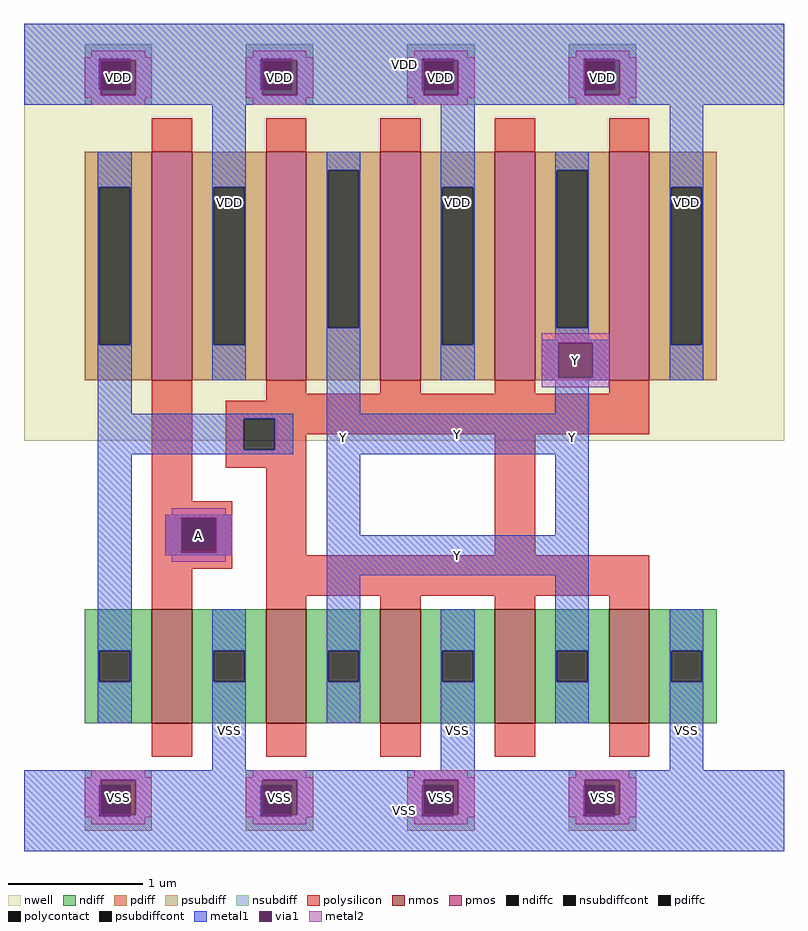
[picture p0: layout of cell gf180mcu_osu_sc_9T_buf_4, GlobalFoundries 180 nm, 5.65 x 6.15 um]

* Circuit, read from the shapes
.subckt gf180mcu_osu_sc_9T_buf_4 A Y VDD VSS
XM1 VSS A n1 VSS nfet_03v3 w=0.85u l=0.3u
XM2 Y n1 VSS VSS nfet_03v3 w=0.85u l=0.3u m=4
XM3 VDD A n1 VDD pfet_03v3 w=1.7u l=0.3u
XM4 Y n1 VDD VDD pfet_03v3 w=1.7u l=0.3u m=4
.ends

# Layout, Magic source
magic
tech gf180mcuC
magscale 1 10
<< nwell >>
rect 0 610 1130 1230
<< nmos >>
rect 190 190 250 360
rect 360 190 420 360
rect 530 190 590 360
rect 700 190 760 360
rect 870 190 930 360
<< pmos >>
rect 190 700 250 1040
rect 360 700 420 1040
rect 530 700 590 1040
rect 700 700 760 1040
rect 870 700 930 1040
<< ndiff >>
rect 90 298 190 360
rect 90 252 112 298
rect 158 252 190 298
rect 90 190 190 252
rect 250 298 360 360
rect 250 252 282 298
rect 328 252 360 298
rect 250 190 360 252
rect 420 298 530 360
rect 420 252 452 298
rect 498 252 530 298
rect 420 190 530 252
rect 590 298 700 360
rect 590 252 622 298
rect 668 252 700 298
rect 590 190 700 252
rect 760 298 870 360
rect 760 252 792 298
rect 838 252 870 298
rect 760 190 870 252
rect 930 298 1030 360
rect 930 252 962 298
rect 1008 252 1030 298
rect 930 190 1030 252
<< pdiff >>
rect 90 987 190 1040
rect 90 753 112 987
rect 158 753 190 987
rect 90 700 190 753
rect 250 987 360 1040
rect 250 753 282 987
rect 328 753 360 987
rect 250 700 360 753
rect 420 1012 530 1040
rect 420 778 452 1012
rect 498 778 530 1012
rect 420 700 530 778
rect 590 987 700 1040
rect 590 753 622 987
rect 668 753 700 987
rect 590 700 700 753
rect 760 1012 870 1040
rect 760 778 792 1012
rect 838 778 870 1012
rect 760 700 870 778
rect 930 987 1030 1040
rect 930 753 962 987
rect 1008 753 1030 987
rect 930 700 1030 753
<< ndiffc >>
rect 112 252 158 298
rect 282 252 328 298
rect 452 252 498 298
rect 622 252 668 298
rect 792 252 838 298
rect 962 252 1008 298
<< pdiffc >>
rect 112 753 158 987
rect 282 753 328 987
rect 452 778 498 1012
rect 622 753 668 987
rect 792 778 838 1012
rect 962 753 1008 987
<< psubdiff >>
rect 90 98 190 120
rect 90 52 112 98
rect 158 52 190 98
rect 90 30 190 52
rect 330 98 430 120
rect 330 52 352 98
rect 398 52 430 98
rect 330 30 430 52
rect 570 98 670 120
rect 570 52 592 98
rect 638 52 670 98
rect 570 30 670 52
rect 810 98 910 120
rect 810 52 832 98
rect 878 52 910 98
rect 810 30 910 52
<< nsubdiff >>
rect 90 1178 190 1200
rect 90 1132 112 1178
rect 158 1132 190 1178
rect 90 1110 190 1132
rect 330 1178 430 1200
rect 330 1132 352 1178
rect 398 1132 430 1178
rect 330 1110 430 1132
rect 570 1178 670 1200
rect 570 1132 592 1178
rect 638 1132 670 1178
rect 570 1110 670 1132
rect 810 1178 910 1200
rect 810 1132 832 1178
rect 878 1132 910 1178
rect 810 1110 910 1132
<< psubdiffcont >>
rect 112 52 158 98
rect 352 52 398 98
rect 592 52 638 98
rect 832 52 878 98
<< nsubdiffcont >>
rect 112 1132 158 1178
rect 352 1132 398 1178
rect 592 1132 638 1178
rect 832 1132 878 1178
<< polysilicon >>
rect 190 1040 250 1090
rect 360 1040 420 1090
rect 530 1040 590 1090
rect 700 1040 760 1090
rect 870 1040 930 1090
rect 190 520 250 700
rect 360 680 420 700
rect 530 680 590 700
rect 700 680 760 700
rect 870 680 930 700
rect 360 670 930 680
rect 300 643 930 670
rect 300 597 327 643
rect 373 620 930 643
rect 373 597 420 620
rect 300 570 420 597
rect 190 493 310 520
rect 190 447 237 493
rect 283 447 310 493
rect 190 420 310 447
rect 360 440 420 570
rect 700 440 760 620
rect 190 360 250 420
rect 360 380 930 440
rect 360 360 420 380
rect 530 360 590 380
rect 700 360 760 380
rect 870 360 930 380
rect 190 140 250 190
rect 360 140 420 190
rect 530 140 590 190
rect 700 140 760 190
rect 870 140 930 190
<< polycontact >>
rect 327 597 373 643
rect 237 447 283 493
<< metal1 >>
rect 0 1178 1130 1230
rect 0 1132 112 1178
rect 158 1176 352 1178
rect 398 1176 592 1178
rect 638 1176 832 1178
rect 878 1176 1130 1178
rect 166 1132 352 1176
rect 406 1132 592 1176
rect 646 1132 832 1176
rect 0 1124 114 1132
rect 166 1124 354 1132
rect 406 1124 594 1132
rect 646 1124 834 1132
rect 886 1124 1130 1176
rect 0 1110 1130 1124
rect 110 987 160 1040
rect 110 753 112 987
rect 158 753 160 987
rect 110 650 160 753
rect 280 987 330 1110
rect 280 753 282 987
rect 328 753 330 987
rect 280 700 330 753
rect 450 1012 500 1040
rect 450 778 452 1012
rect 498 778 500 1012
rect 450 650 500 778
rect 620 987 670 1110
rect 620 753 622 987
rect 668 753 670 987
rect 790 1012 840 1040
rect 790 778 792 1012
rect 838 778 840 1012
rect 790 760 840 778
rect 960 987 1010 1110
rect 620 700 670 753
rect 770 756 870 760
rect 770 704 794 756
rect 846 704 870 756
rect 770 700 870 704
rect 960 753 962 987
rect 1008 753 1010 987
rect 960 700 1010 753
rect 790 650 840 700
rect 110 643 400 650
rect 110 597 327 643
rect 373 597 400 643
rect 110 590 400 597
rect 450 590 840 650
rect 110 298 160 590
rect 210 496 310 500
rect 210 444 234 496
rect 286 444 310 496
rect 210 440 310 444
rect 450 470 500 590
rect 790 470 840 590
rect 450 410 840 470
rect 110 252 112 298
rect 158 252 160 298
rect 110 190 160 252
rect 280 298 330 360
rect 280 252 282 298
rect 328 252 330 298
rect 280 120 330 252
rect 450 298 500 410
rect 450 252 452 298
rect 498 252 500 298
rect 450 190 500 252
rect 620 298 670 360
rect 620 252 622 298
rect 668 252 670 298
rect 620 120 670 252
rect 790 298 840 410
rect 790 252 792 298
rect 838 252 840 298
rect 790 190 840 252
rect 960 298 1010 360
rect 960 252 962 298
rect 1008 252 1010 298
rect 960 120 1010 252
rect 0 106 1130 120
rect 0 98 114 106
rect 166 98 354 106
rect 406 98 594 106
rect 646 98 834 106
rect 0 52 112 98
rect 166 54 352 98
rect 406 54 592 98
rect 646 54 832 98
rect 886 54 1130 106
rect 158 52 352 54
rect 398 52 592 54
rect 638 52 832 54
rect 878 52 1130 54
rect 0 0 1130 52
<< via1 >>
rect 114 1132 158 1176
rect 158 1132 166 1176
rect 354 1132 398 1176
rect 398 1132 406 1176
rect 594 1132 638 1176
rect 638 1132 646 1176
rect 834 1132 878 1176
rect 878 1132 886 1176
rect 114 1124 166 1132
rect 354 1124 406 1132
rect 594 1124 646 1132
rect 834 1124 886 1132
rect 794 704 846 756
rect 234 493 286 496
rect 234 447 237 493
rect 237 447 283 493
rect 283 447 286 493
rect 234 444 286 447
rect 114 98 166 106
rect 354 98 406 106
rect 594 98 646 106
rect 834 98 886 106
rect 114 54 158 98
rect 158 54 166 98
rect 354 54 398 98
rect 398 54 406 98
rect 594 54 638 98
rect 638 54 646 98
rect 834 54 878 98
rect 878 54 886 98
<< metal2 >>
rect 100 1180 180 1190
rect 340 1180 420 1190
rect 580 1180 660 1190
rect 820 1180 900 1190
rect 90 1176 190 1180
rect 90 1124 114 1176
rect 166 1124 190 1176
rect 90 1120 190 1124
rect 330 1176 430 1180
rect 330 1124 354 1176
rect 406 1124 430 1176
rect 330 1120 430 1124
rect 570 1176 670 1180
rect 570 1124 594 1176
rect 646 1124 670 1176
rect 570 1120 670 1124
rect 810 1176 910 1180
rect 810 1124 834 1176
rect 886 1124 910 1176
rect 810 1120 910 1124
rect 100 1110 180 1120
rect 340 1110 420 1120
rect 580 1110 660 1120
rect 820 1110 900 1120
rect 770 756 870 770
rect 770 704 794 756
rect 846 704 870 756
rect 770 690 870 704
rect 220 500 300 510
rect 210 496 310 500
rect 210 444 234 496
rect 286 444 310 496
rect 210 440 310 444
rect 220 430 300 440
rect 100 110 180 120
rect 340 110 420 120
rect 580 110 660 120
rect 820 110 900 120
rect 90 106 190 110
rect 90 54 114 106
rect 166 54 190 106
rect 90 50 190 54
rect 330 106 430 110
rect 330 54 354 106
rect 406 54 430 106
rect 330 50 430 54
rect 570 106 670 110
rect 570 54 594 106
rect 646 54 670 106
rect 570 50 670 54
rect 810 106 910 110
rect 810 54 834 106
rect 886 54 910 106
rect 810 50 910 54
rect 100 40 180 50
rect 340 40 420 50
rect 580 40 660 50
rect 820 40 900 50
<< labels >>
rlabel metal2 s 100 1110 180 1190 4 VDD
port 6 nsew power bidirectional abutment
rlabel metal2 s 100 40 180 120 4 VSS
port 7 nsew ground bidirectional
rlabel metal2 s 220 430 300 510 4 A
port 1 nsew signal input
rlabel metal2 s 770 690 870 770 4 Y
port 2 nsew signal output
rlabel metal2 s 210 440 310 500 1 A
port 1 nsew signal input
rlabel metal1 s 210 440 310 500 1 A
port 1 nsew signal input
rlabel metal2 s 90 1120 190 1180 1 VDD
port 6 nsew power bidirectional abutment
rlabel metal2 s 340 1110 420 1190 1 VDD
port 6 nsew power bidirectional abutment
rlabel metal2 s 330 1120 430 1180 1 VDD
port 6 nsew power bidirectional abutment
rlabel metal2 s 580 1110 660 1190 1 VDD
port 6 nsew power bidirectional abutment
rlabel metal2 s 570 1120 670 1180 1 VDD
port 6 nsew power bidirectional abutment
rlabel metal2 s 820 1110 900 1190 1 VDD
port 6 nsew power bidirectional abutment
rlabel metal2 s 810 1120 910 1180 1 VDD
port 6 nsew power bidirectional abutment
rlabel metal1 s 280 700 330 1230 1 VDD
port 6 nsew power bidirectional abutment
rlabel metal1 s 620 700 670 1230 1 VDD
port 6 nsew power bidirectional abutment
rlabel metal1 s 960 700 1010 1230 1 VDD
port 6 nsew power bidirectional abutment
rlabel metal1 s 0 1110 1130 1230 1 VDD
port 6 nsew power bidirectional abutment
rlabel metal2 s 90 50 190 110 1 VSS
port 7 nsew ground bidirectional
rlabel metal2 s 340 40 420 120 1 VSS
port 7 nsew ground bidirectional
rlabel metal2 s 330 50 430 110 1 VSS
port 7 nsew ground bidirectional
rlabel metal2 s 580 40 660 120 1 VSS
port 7 nsew ground bidirectional
rlabel metal2 s 570 50 670 110 1 VSS
port 7 nsew ground bidirectional
rlabel metal2 s 820 40 900 120 1 VSS
port 7 nsew ground bidirectional
rlabel metal2 s 810 50 910 110 1 VSS
port 7 nsew ground bidirectional
rlabel metal1 s 280 0 330 360 1 VSS
port 7 nsew ground bidirectional
rlabel metal1 s 620 0 670 360 1 VSS
port 7 nsew ground bidirectional
rlabel metal1 s 960 0 1010 360 1 VSS
port 7 nsew ground bidirectional
rlabel metal1 s 0 0 1130 120 1 VSS
port 7 nsew ground bidirectional
rlabel metal1 s 450 190 500 1040 1 Y
port 2 nsew signal output
rlabel metal1 s 450 410 840 470 1 Y
port 2 nsew signal output
rlabel metal1 s 450 590 840 650 1 Y
port 2 nsew signal output
rlabel metal1 s 790 190 840 1040 1 Y
port 2 nsew signal output
rlabel metal1 s 770 700 870 760 1 Y
port 2 nsew signal output
<< properties >>
string FIXED_BBOX 0 0 1130 1230
string GDS_END 75884
string GDS_FILE $PDKPATH/libs.ref/gf180mcu_osu_sc_9T/gds/gf180mcu_osu_sc_9T.gds
string GDS_START 66956
string LEFclass CORE
string LEFsite GF018hv5v_mcu_sc7
string LEFsymmetry X Y
<< end >>
